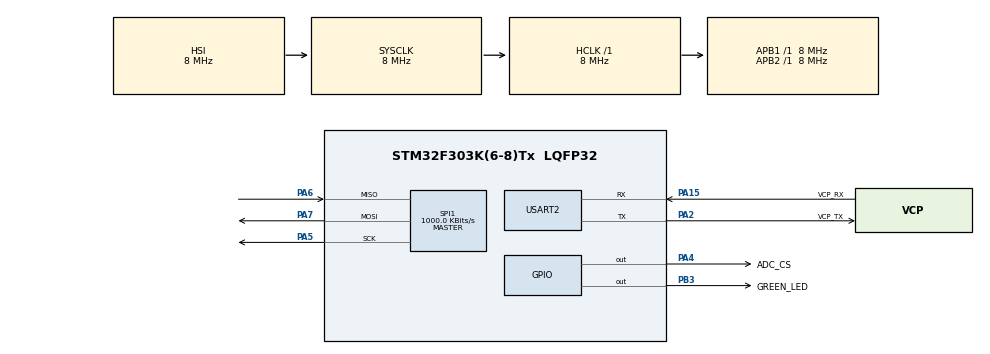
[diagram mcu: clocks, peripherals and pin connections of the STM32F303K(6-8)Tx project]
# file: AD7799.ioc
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Mcu.Family=STM32F3
Mcu.Name=STM32F303K(6-8)Tx
Mcu.Package=LQFP32
NVIC.PriorityGroup=NVIC_PRIORITYGROUP_4
PA13.GPIO_Label=SWDIO
PA13.Mode=Serial_Wire
PA13.Signal=SYS_JTMS-SWDIO
PA14.GPIO_Label=SWCLK
PA14.Mode=Serial_Wire
PA14.Signal=SYS_JTCK-SWCLK
PA15.GPIO_Label=VCP_RX
PA15.Mode=Asynchronous
PA15.Signal=USART2_RX
PA2.GPIO_Label=VCP_TX
PA2.Mode=Asynchronous
PA2.Signal=USART2_TX
PA4.GPIO_Label=ADC_CS
PA4.Signal=GPIO_Output
PA5.Mode=Full_Duplex_Master
PA5.Signal=SPI1_SCK
PA6.Mode=Full_Duplex_Master
PA6.Signal=SPI1_MISO
PA7.Mode=Full_Duplex_Master
PA7.Signal=SPI1_MOSI
PB3.GPIO_Label=GREEN_LED
PB3.Signal=GPIO_Output
PF0\ /\ OSC_IN.GPIO_Label=MCO
PF0\ /\ OSC_IN.Mode=HSE-External-Clock-Source
PF0\ /\ OSC_IN.Signal=RCC_OSC_IN
ProjectManager.HeapSize=0x200
ProjectManager.StackSize=0x400
ProjectManager.TargetToolchain=STM32CubeIDE
RCC.AHBFreq_Value=8000000
RCC.APB1Freq_Value=8000000
RCC.APB2Freq_Value=8000000
RCC.CortexFreq_Value=8000000
RCC.HSE_VALUE=8000000
RCC.HSI_VALUE=8000000
RCC.SYSCLKFreq_VALUE=8000000
SPI1.BaudRatePrescaler=SPI_BAUDRATEPRESCALER_8
SPI1.CLKPhase=SPI_PHASE_2EDGE
SPI1.CLKPolarity=SPI_POLARITY_HIGH
SPI1.CalculateBaudRate=1000.0 KBits/s
SPI1.DataSize=SPI_DATASIZE_8BIT
SPI1.Direction=SPI_DIRECTION_2LINES
SPI1.Mode=SPI_MODE_MASTER
SPI1.VirtualType=VM_MASTER
USART2.VirtualMode-Asynchronous=VM_ASYNC
board=NUCLEO-F303K8

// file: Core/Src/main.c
/* USER CODE BEGIN Header */
/**
  ******************************************************************************
  * @file           : main.c
  * @brief          : Main program body
  ******************************************************************************
  * @attention
  *
  * Copyright (c) 2022 STMicroelectronics.
  * All rights reserved.
  *
  * This software is licensed under terms that can be found in the LICENSE file
  * in the root directory of this software component.
  * If no LICENSE file comes with this software, it is provided AS-IS.
  *
  ******************************************************************************
  */
/* USER CODE END Header */
#include "main.h"

/* USER CODE BEGIN Includes */
#include "AD7799.h"
/* USER CODE END Includes */

SPI_HandleTypeDef hspi1;

UART_HandleTypeDef huart2;

/* USER CODE BEGIN PV */
AD7799 adc;
HAL_StatusTypeDef result;
/* USER CODE END PV */

void SystemClock_Config(void);
static void MX_GPIO_Init(void);
static void MX_USART2_UART_Init(void);
static void MX_SPI1_Init(void);

int main(void)
{

  /* MCU Configuration--------------------------------------------------------*/

  /* Reset of all peripherals, Initializes the Flash interface and the Systick. */
  HAL_Init();

  /* Configure the system clock */
  SystemClock_Config();

  /* Initialize all configured peripherals */
  MX_GPIO_Init();
  MX_USART2_UART_Init();
  MX_SPI1_Init();
  /* USER CODE BEGIN 2 */

  adc.adcspi = &hspi1;
  adc.CSPin = ADC_CS_Pin;
  adc.CSPort = ADC_CS_GPIO_Port;
  adc.vref = 3.3;

  AD7799_Reset(&adc);
  if (AD7799_Init(&adc) != HAL_OK) {
  	    Error_Handler();
  }

  AD7799_SetGain(&adc, AD7799_GAIN_1);
  AD7799_SetPolarity(&adc, AD7799_UNIPOLAR);

  /* USER CODE END 2 */

  /* Infinite loop */
  while (1)
  {

    /* USER CODE BEGIN 3 */
	result = AD7799_SingleConversion(&adc);
	if (result != HAL_OK) {
		Error_Handler();
	}

	HAL_GPIO_TogglePin(GREEN_LED_GPIO_Port, GREEN_LED_Pin);

	HAL_Delay(500);

  }
  /* USER CODE END 3 */
}

void SystemClock_Config(void)
{
  RCC_OscInitTypeDef RCC_OscInitStruct = {0};
  RCC_ClkInitTypeDef RCC_ClkInitStruct = {0};

  /** Initializes the RCC Oscillators according to the specified parameters
  * in the RCC_OscInitTypeDef structure.
  */
  RCC_OscInitStruct.OscillatorType = RCC_OSCILLATORTYPE_HSI;
  RCC_OscInitStruct.HSIState = RCC_HSI_ON;
  RCC_OscInitStruct.HSICalibrationValue = RCC_HSICALIBRATION_DEFAULT;
  RCC_OscInitStruct.PLL.PLLState = RCC_PLL_NONE;
  if (HAL_RCC_OscConfig(&RCC_OscInitStruct) != HAL_OK)
  {
    Error_Handler();
  }
  /** Initializes the CPU, AHB and APB buses clocks
  */
  RCC_ClkInitStruct.ClockType = RCC_CLOCKTYPE_HCLK|RCC_CLOCKTYPE_SYSCLK
                              |RCC_CLOCKTYPE_PCLK1|RCC_CLOCKTYPE_PCLK2;
  RCC_ClkInitStruct.SYSCLKSource = RCC_SYSCLKSOURCE_HSI;
  RCC_ClkInitStruct.AHBCLKDivider = RCC_SYSCLK_DIV1;
  RCC_ClkInitStruct.APB1CLKDivider = RCC_HCLK_DIV1;
  RCC_ClkInitStruct.APB2CLKDivider = RCC_HCLK_DIV1;

  if (HAL_RCC_ClockConfig(&RCC_ClkInitStruct, FLASH_LATENCY_0) != HAL_OK)
  {
    Error_Handler();
  }
}

static void MX_SPI1_Init(void)
{

  /* SPI1 parameter configuration*/
  hspi1.Instance = SPI1;
  hspi1.Init.Mode = SPI_MODE_MASTER;
  hspi1.Init.Direction = SPI_DIRECTION_2LINES;
  hspi1.Init.DataSize = SPI_DATASIZE_8BIT;
  hspi1.Init.CLKPolarity = SPI_POLARITY_HIGH;
  hspi1.Init.CLKPhase = SPI_PHASE_2EDGE;
  hspi1.Init.NSS = SPI_NSS_SOFT;
  hspi1.Init.BaudRatePrescaler = SPI_BAUDRATEPRESCALER_8;
  hspi1.Init.FirstBit = SPI_FIRSTBIT_MSB;
  hspi1.Init.TIMode = SPI_TIMODE_DISABLE;
  hspi1.Init.CRCCalculation = SPI_CRCCALCULATION_DISABLE;
  hspi1.Init.CRCPolynomial = 7;
  hspi1.Init.CRCLength = SPI_CRC_LENGTH_DATASIZE;
  hspi1.Init.NSSPMode = SPI_NSS_PULSE_DISABLE;
  if (HAL_SPI_Init(&hspi1) != HAL_OK)
  {
    Error_Handler();
  }

}

static void MX_USART2_UART_Init(void)
{

  huart2.Instance = USART2;
  huart2.Init.BaudRate = 38400;
  huart2.Init.WordLength = UART_WORDLENGTH_8B;
  huart2.Init.StopBits = UART_STOPBITS_1;
  huart2.Init.Parity = UART_PARITY_NONE;
  huart2.Init.Mode = UART_MODE_TX_RX;
  huart2.Init.HwFlowCtl = UART_HWCONTROL_NONE;
  huart2.Init.OverSampling = UART_OVERSAMPLING_16;
  huart2.Init.OneBitSampling = UART_ONE_BIT_SAMPLE_DISABLE;
  huart2.AdvancedInit.AdvFeatureInit = UART_ADVFEATURE_NO_INIT;
  if (HAL_UART_Init(&huart2) != HAL_OK)
  {
    Error_Handler();
  }

}

static void MX_GPIO_Init(void)
{
  GPIO_InitTypeDef GPIO_InitStruct = {0};

  /* GPIO Ports Clock Enable */
  __HAL_RCC_GPIOF_CLK_ENABLE();
  __HAL_RCC_GPIOA_CLK_ENABLE();
  __HAL_RCC_GPIOB_CLK_ENABLE();

  /*Configure GPIO pin Output Level */
  HAL_GPIO_WritePin(ADC_CS_GPIO_Port, ADC_CS_Pin, GPIO_PIN_RESET);

  /*Configure GPIO pin Output Level */
  HAL_GPIO_WritePin(GREEN_LED_GPIO_Port, GREEN_LED_Pin, GPIO_PIN_RESET);

  /*Configure GPIO pin : ADC_CS_Pin */
  GPIO_InitStruct.Pin = ADC_CS_Pin;
  GPIO_InitStruct.Mode = GPIO_MODE_OUTPUT_PP;
  GPIO_InitStruct.Pull = GPIO_NOPULL;
  GPIO_InitStruct.Speed = GPIO_SPEED_FREQ_LOW;
  HAL_GPIO_Init(ADC_CS_GPIO_Port, &GPIO_InitStruct);

  /*Configure GPIO pin : GREEN_LED_Pin */
  GPIO_InitStruct.Pin = GREEN_LED_Pin;
  GPIO_InitStruct.Mode = GPIO_MODE_OUTPUT_PP;
  GPIO_InitStruct.Pull = GPIO_NOPULL;
  GPIO_InitStruct.Speed = GPIO_SPEED_FREQ_LOW;
  HAL_GPIO_Init(GREEN_LED_GPIO_Port, &GPIO_InitStruct);

}

void Error_Handler(void)
{
  __disable_irq();
  while (1)
  {
  }
}
